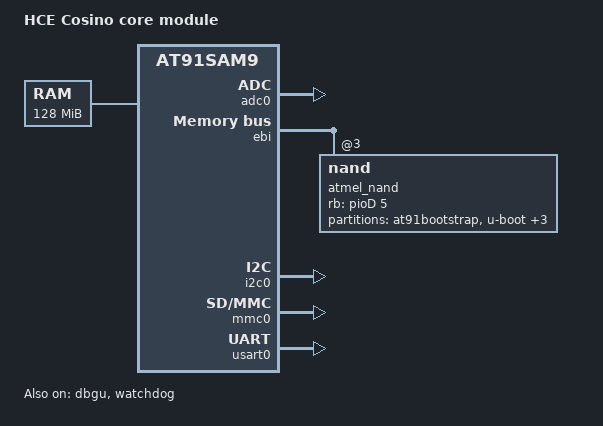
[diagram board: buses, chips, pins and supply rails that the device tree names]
// SPDX-License-Identifier: GPL-2.0-or-later
/*
 * at91-cosino.dtsi - Device Tree file for Cosino core module
 *
 * Copyright (C) 2013 - Rodolfo Giometti <giometti@linux.it>
 *			HCE Engineering
 *
 * Derived from at91sam9x5ek.dtsi by:
 *	Copyright (C) 2012 Atmel,
 *	2012 Nicolas Ferre <nicolas.ferre@atmel.com>
 */

#include "at91sam9g35.dtsi"

/ {
	model = "HCE Cosino core module";
	compatible = "hce,cosino", "atmel,at91sam9x5", "atmel,at91sam9";

	chosen {
		bootargs = "console=ttyS0,115200 root=/dev/mmcblk0p2 rw rootfstype=ext3 rootwait";
	};

	memory {
		reg = <0x20000000 0x8000000>;
	};

	clocks {
		slow_xtal {
			clock-frequency = <32768>;
		};

		main_xtal {
			clock-frequency = <12000000>;
		};
	};
};

&adc0 {
	atmel,adc-ts-wires = <4>;
	atmel,adc-ts-pressure-threshold = <10000>;
	status = "okay";
};

&dbgu {
	status = "okay";
};

&ebi {
	pinctrl-0 = <&pinctrl_ebi_addr_nand
		     &pinctrl_ebi_data_0_7>;
	pinctrl-names = "default";
	status = "okay";

	nand-controller {
		pinctrl-0 = <&pinctrl_nand_oe_we
			     &pinctrl_nand_cs
			     &pinctrl_nand_rb>;
		pinctrl-names = "default";
		status = "okay";

		nand@3 {
			reg = <0x3 0x0 0x800000>;
			rb-gpios = <&pioD 5 GPIO_ACTIVE_HIGH>;
			cs-gpios = <&pioD 4 GPIO_ACTIVE_HIGH>;
			nand-bus-width = <8>;
			nand-ecc-mode = "hw";
			nand-ecc-strength = <4>;
			nand-ecc-step-size = <512>;
			nand-on-flash-bbt;
			label = "atmel_nand";

			partitions {
				compatible = "fixed-partitions";
				#address-cells = <1>;
				#size-cells = <1>;

				at91bootstrap@0 {
					label = "at91bootstrap";
					reg = <0x0 0x40000>;
				};

				uboot@40000 {
					label = "u-boot";
					reg = <0x40000 0x80000>;
				};

				ubootenv@c0000 {
					label = "U-Boot Env";
					reg = <0xc0000 0x140000>;
				};

				kernel@200000 {
					label = "kernel";
					reg = <0x200000 0x600000>;
				};

				rootfs@800000 {
					label = "rootfs";
					reg = <0x800000 0x0f800000>;
				};
			};
		};
	};
};

&i2c0 {
	status = "okay";
};

&mmc0 {
	pinctrl-0 = <
		&pinctrl_board_mmc0
		&pinctrl_mmc0_slot0_clk_cmd_dat0
		&pinctrl_mmc0_slot0_dat1_3>;
	status = "okay";

	slot@0 {
		reg = <0>;
		bus-width = <4>;
		cd-gpios = <&pioD 15 GPIO_ACTIVE_HIGH>;
	};
};

&pinctrl {
	mmc0 {
		pinctrl_board_mmc0: mmc0-board {
			atmel,pins =
				<AT91_PIOD 15 AT91_PERIPH_GPIO AT91_PINCTRL_PULL_UP_DEGLITCH>;	/* PD15 gpio CD pin pull up and deglitch */
		};
	};
};

&tcb0 {
	timer@0 {
		compatible = "atmel,tcb-timer";
		reg = <0>;
	};

	timer@1 {
		compatible = "atmel,tcb-timer";
		reg = <1>;
	};
};

&usart0 {
	status = "okay";
};

&watchdog {
	status = "okay";
};
